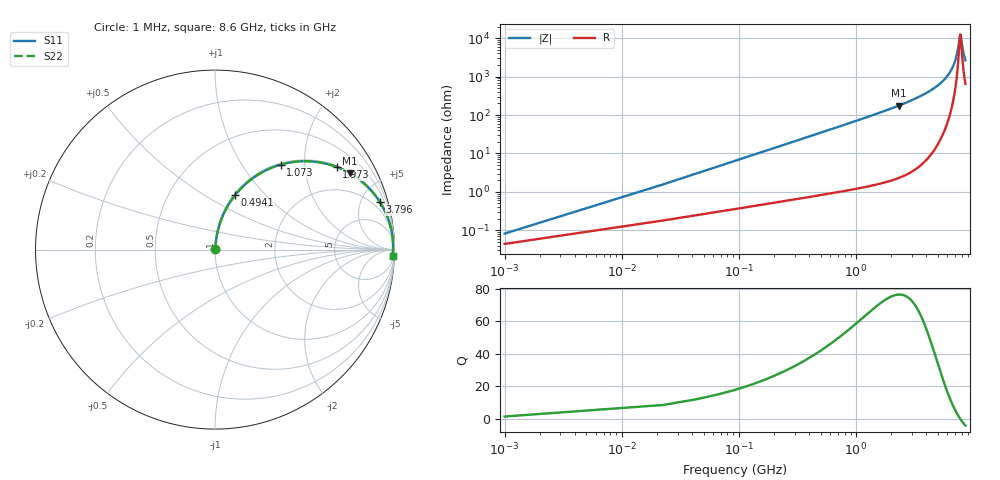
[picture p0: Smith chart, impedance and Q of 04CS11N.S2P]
! Coilcraft 0402CS-11N Chip Inductor
! 29 May 2002
# MHZ S MA R 50
!Freq  MagS11  AngS11  MagS21  AngS21  MagS12  AngS12  MagS22  AngS22
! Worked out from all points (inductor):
!   403 points, 1 MHz to 8.6 GHz, reference 50 ohm
!   read as one part in series: L = 11 nH near 43.88 MHz
!   highest Q = 76.4 at 2.317 GHz (marker M1), where L = 12.1 nH
!   self-resonance near 7.784 GHz
!   S11 on the Smith chart (normalised r, x): 1 MHz: 1.00, +0.00; 494.1 MHz: 1.02, +0.69; 1.073 GHz: 1.03, +1.51; 1.973 GHz: 1.04, +2.92; 3.796 GHz: 1.12, +6.88; 8.6 GHz: 14, -51
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1  0.0008206 57.3  0.9996 -0.0  0.9996 -0.0  0.0008206 57.3
65.32  0.04507 83.6  0.996 -2.6  0.996 -2.6  0.04507 83.6
108.2  0.0744 82.8  0.9934 -4.3  0.9934 -4.3  0.0744 82.8
172.52  0.118 80.9  0.9882 -6.8  0.9882 -6.8  0.118 80.9
258.28  0.175 78.0  0.9788 -10.1  0.9788 -10.1  0.175 78.0
494.12  0.3221 69.8  0.939 -18.8  0.939 -18.8  0.3221 69.8
751.4  0.4607 61.5  0.8786 -27.4  0.8786 -27.4  0.4607 61.5
1073  0.5983 52.3  0.7914 -36.7  0.7914 -36.7  0.5983 52.3
1437.48  0.7118 43.8  0.692 -45.4  0.692 -45.4  0.7118 43.8
1973.48  0.8195 34.2  0.5622 -55.0  0.5622 -55.0  0.8195 34.2
2316.52  0.8642 29.5  0.492 -59.8  0.492 -59.8  0.8642 29.5
2873.96  0.9125 23.4  0.3968 -65.8  0.3968 -65.8  0.9125 23.4
3795.88  0.956 16.1  0.2778 -72.9  0.2778 -72.9  0.956 16.1
4310.44  0.9695 13.0  0.2257 -75.8  0.2257 -75.8  0.9695 13.0
5746.92  0.9881 6.5  0.1134 -80.7  0.1134 -80.7  0.9881 6.5
6604.52  0.9918 3.5  0.06135 -80.6  0.06135 -80.6  0.9918 3.5
7183.4  0.9925 1.7  0.0307 -75.0  0.0307 -75.0  0.9925 1.7
7697.96  0.9922 0.3  0.008947 -28.9  0.008947 -28.9  0.9922 0.3
7783.72  0.9921 0.0  0.007946 -2.0  0.007946 -2.0  0.9921 0.0
7869.48  0.9919 -0.2  0.0089 24.7  0.0089 24.7  0.9919 -0.2
8233.96  0.9911 -1.2  0.02216 65.8  0.02216 65.8  0.9911 -1.2
8600  0.9901 -2.1  0.03755 73.6  0.03755 73.6  0.9901 -2.1
